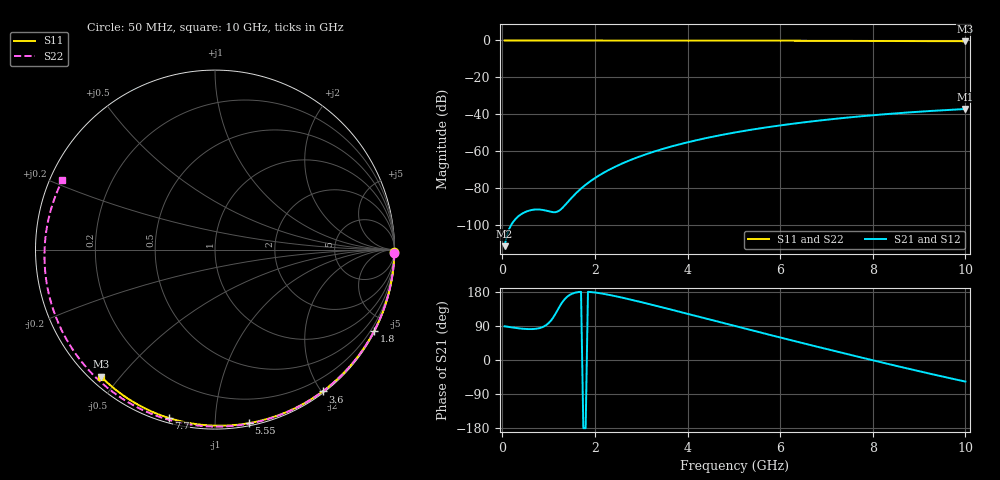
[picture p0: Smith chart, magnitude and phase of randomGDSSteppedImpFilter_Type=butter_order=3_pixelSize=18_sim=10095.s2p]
! freq	dB(S11)	phase(S11)	dB(S12)	phase(S12)
!  dB(S21)	phase(S21)	dB(S22)	phase(S22)
!S-par simulation data
#  GHz  S  DB  R 50
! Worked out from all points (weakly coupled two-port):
!   200 points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, 50 MHz to 10 GHz, reference 50 ohm
!   highest |S21| = -37.10 dB at 10 GHz (marker M1); lowest = -111.3 dB at 50 MHz (marker M2)
!   lowest |S11| = -0.4 dB at 10 GHz (marker M3), VSWR 39.48, Z = 1.52 - j22.3 ohm
!   |S11| at or under -10 dB: nowhere
!   |S22| runs from -0.6 to 0.0 dB; largest |S21 - S12| = 0
!   S11 on the Smith chart (normalised r, x): 50 MHz: open; 1.8 GHz: 0.04, -4.16; 3.6 GHz: 0.02, -2.01; 5.55 GHz: 0.02, -1.21; 7.7 GHz: 0.02, -0.76; 10 GHz: 0.03, -0.45
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0.05  -0.01 -0.8  -111.27 88.9  -111.27 88.9  -0.00 -1.2
0.45  -0.01 -6.8  -93.35 82.4  -93.35 82.4  -0.01 -11.0
0.85  -0.02 -12.9  -91.58 86.0  -91.58 86.0  -0.03 -20.7
1.25  -0.02 -18.9  -91.68 143.8  -91.68 143.8  -0.04 -30.3
1.7  -0.03 -25.6  -80.14 180.0  -80.14 180.0  -0.05 -40.9
1.75  -0.03 -26.3  -79.07 -179.8  -79.07 -179.8  -0.05 -42.1
1.8  -0.03 -27.0  -78.06 -179.8  -78.06 -179.8  -0.05 -43.2
2.1  -0.04 -31.4  -72.87 176.4  -72.87 176.4  -0.06 -50.1
2.45  -0.05 -36.5  -68.16 168.3  -68.16 168.3  -0.07 -58.0
2.9  -0.06 -43.0  -63.38 155.7  -63.38 155.7  -0.09 -68.0
3.4  -0.07 -50.1  -59.16 140.6  -59.16 140.6  -0.10 -78.7
3.6  -0.07 -52.9  -57.71 134.4  -57.71 134.4  -0.11 -82.9
4.3  -0.09 -62.5  -53.36 112.5  -53.36 112.5  -0.13 -97.2
5.05  -0.11 -72.5  -49.66 89.0  -49.66 89.0  -0.17 -111.9
5.55  -0.13 -78.9  -47.60 73.4  -47.60 73.4  -0.19 -121.4
6.15  -0.15 -86.6  -45.45 54.9  -45.45 54.9  -0.23 -132.6
6.7  -0.18 -93.4  -43.73 38.1  -43.73 38.1  -0.27 -142.7
7.2  -0.21 -99.5  -42.35 23.0  -42.35 23.0  -0.31 -151.8
7.7  -0.24 -105.4  -41.12 8.1  -41.12 8.1  -0.35 -160.9
8.35  -0.29 -113.1  -39.73 -10.9  -39.73 -10.9  -0.41 -172.8
9.2  -0.36 -122.9  -38.22 -35.2  -38.22 -35.2  -0.50 171.2
10  -0.44 -131.9  -37.10 -57.0  -37.10 -57.0  -0.59 155.5
